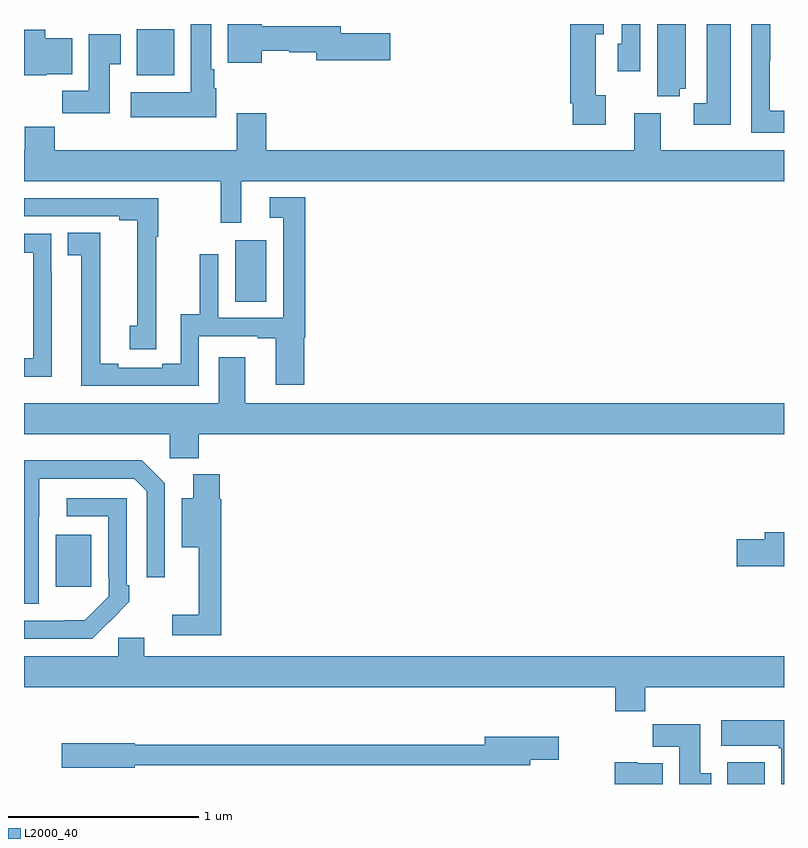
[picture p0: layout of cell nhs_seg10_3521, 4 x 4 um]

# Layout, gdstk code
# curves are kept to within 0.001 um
import gdstk
lib = gdstk.Library(unit=1e-6, precision=1e-09)
def R(c, l, rs):  # rectangles x0, y0, x1, y1
    for r in rs: c.add(gdstk.rectangle(r[:2], r[2:], *l))
def P(c, l, *ps):  # polygons
    for p in ps: c.add(gdstk.Polygon(p, *l))
L2000_40 = (2000, 40)

nhs_seg10_3521 = lib.new_cell('nhs_seg10_3521')
R(nhs_seg10_3521, L2000_40, [(306.701,1274.5,306.898,1274.614), (303.167,1275.537,303.355,1275.811), (304.112,1277.038,304.276,1277.362), (303.593,1278.23,303.79,1278.472)])
P(nhs_seg10_3521, L2000_40, [(306.061,1278.126),(306.01,1278.126),(306.01,1278.446),(306.052,1278.446),(306.052,1278.5),(305.876,1278.5),(305.876,1278.082),(305.888,1278.082),(305.888,1277.97),(306.061,1277.97)],
  [(306.721,1278.5),(306.593,1278.5),(306.593,1278.084),(306.525,1278.084),(306.525,1277.969),(306.721,1277.969)],
  [(306.243,1278.5),(306.147,1278.5),(306.147,1278.396),(306.126,1278.396),(306.126,1278.252),(306.243,1278.252)],
  [(304.252,1278.36),(304.395,1278.36),(304.395,1278.352),(304.538,1278.352),(304.538,1278.31),(304.927,1278.31),(304.927,1278.452),(304.666,1278.452),(304.666,1278.488),(304.252,1278.488),(304.252,1278.5),(304.073,1278.5),(304.073,1278.296),(304.252,1278.296)],
  [(307,1278.044),(306.925,1278.044),(306.925,1278.307),(306.927,1278.307),(306.927,1278.5),(306.828,1278.5),(306.828,1277.928),(307,1277.928)],
  [(306.452,1278.158),(306.484,1278.158),(306.484,1278.5),(306.332,1278.5),(306.332,1278.121),(306.452,1278.121)],
  [(304.012,1278.162),(304,1278.162),(304,1278.262),(303.985,1278.262),(303.985,1278.5),(303.878,1278.5),(303.878,1278.142),(303.561,1278.142),(303.561,1278.008),(304.012,1278.008)],
  [(303.12,1278.236),(303.253,1278.236),(303.253,1278.424),(303.112,1278.424),(303.112,1278.469),(303,1278.469),(303,1278.23),(303.12,1278.23)],
  [(303.451,1278.289),(303.508,1278.289),(303.508,1278.445),(303.341,1278.445),(303.341,1278.148),(303.202,1278.148),(303.202,1278.03),(303.451,1278.03)],
  [(304.144,1277.672),(307,1277.672),(307,1277.836),(306.352,1277.836),(306.352,1278.031),(306.212,1278.031),(306.212,1277.836),(304.274,1277.836),(304.274,1278.031),(304.121,1278.031),(304.121,1277.836),(303.161,1277.836),(303.161,1277.96),(303.005,1277.96),(303.005,1277.836),(303,1277.836),(303,1277.672),(304.035,1277.672),(304.035,1277.454),(304.144,1277.454)],
  [(303.921,1276.857),(304.229,1276.857),(304.229,1276.845),(304.325,1276.845),(304.325,1276.602),(304.475,1276.602),(304.475,1276.85),(304.481,1276.85),(304.481,1277.587),(304.293,1277.587),(304.293,1277.481),(304.365,1277.481),(304.365,1276.953),(304.023,1276.953),(304.023,1277.287),(303.925,1277.287),(303.925,1276.973),(303.825,1276.973),(303.825,1276.712),(303.728,1276.712),(303.728,1276.692),(303.496,1276.692),(303.496,1276.712),(303.4,1276.712),(303.4,1276.993),(303.401,1276.993),(303.401,1277.402),(303.229,1277.402),(303.229,1277.284),(303.302,1277.284),(303.302,1276.596),(303.921,1276.596)],
  [(303.697,1277.38),(303.707,1277.38),(303.707,1277.583),(303,1277.583),(303,1277.487),(303.5,1277.487),(303.5,1277.467),(303.596,1277.467),(303.596,1276.912),(303.557,1276.912),(303.557,1276.788),(303.697,1276.788)],
  [(303.145,1277.194),(303.144,1277.194),(303.144,1277.397),(303,1277.397),(303,1277.296),(303.048,1277.296),(303.048,1276.74),(303,1276.74),(303,1276.643),(303.145,1276.643)],
  [(303.92,1276.34),(307,1276.34),(307,1276.504),(304.165,1276.504),(304.165,1276.747),(304.025,1276.747),(304.025,1276.504),(303,1276.504),(303,1276.34),(303.768,1276.34),(303.768,1276.214),(303.92,1276.214)],
  [(303.078,1275.907),(303.079,1275.907),(303.079,1276.107),(303.579,1276.107),(303.645,1276.041),(303.645,1275.588),(303.741,1275.588),(303.741,1276.083),(303.62,1276.204),(303,1276.204),(303,1275.45),(303.078,1275.45)],
  [(304.037,1275.999),(304.031,1275.999),(304.031,1276.129),(303.89,1276.129),(303.89,1276.003),(303.83,1276.003),(303.83,1275.746),(303.92,1275.746),(303.92,1275.391),(303.78,1275.391),(303.78,1275.282),(304.037,1275.282)],
  [(303.449,1275.355),(303.45,1275.354),(303.555,1275.459),(303.555,1275.547),(303.54,1275.547),(303.54,1276.005),(303.225,1276.005),(303.225,1275.909),(303.444,1275.909),(303.444,1275.589),(303.447,1275.589),(303.447,1275.489),(303.319,1275.361),(303,1275.36),(303,1275.264),(303.358,1275.264)],
  [(307,1275.824),(306.899,1275.824),(306.899,1275.788),(306.75,1275.788),(306.75,1275.646),(307,1275.646)],
  [(306.269,1275.008),(307,1275.008),(307,1275.172),(303.634,1275.172),(303.634,1275.27),(303.495,1275.27),(303.495,1275.172),(303,1275.172),(303,1275.008),(306.113,1275.008),(306.113,1274.884),(306.269,1274.884)],
  [(307,1274.836),(306.669,1274.836),(306.669,1274.702),(306.973,1274.702),(306.973,1274.689),(306.986,1274.689),(306.986,1274.5),(307,1274.5)],
  [(306.616,1274.556),(306.559,1274.556),(306.559,1274.815),(306.31,1274.815),(306.31,1274.696),(306.449,1274.696),(306.449,1274.5),(306.616,1274.5)],
  [(303.582,1274.598),(305.665,1274.598),(305.665,1274.627),(305.815,1274.627),(305.815,1274.749),(305.426,1274.749),(305.426,1274.707),(303.582,1274.707),(303.582,1274.715),(303.198,1274.715),(303.198,1274.585),(303.582,1274.585)],
  [(306.361,1274.608),(306.228,1274.608),(306.228,1274.614),(306.11,1274.614),(306.11,1274.5),(306.361,1274.5)])

lib.write_gds('nhs_seg10_3521.gds')
